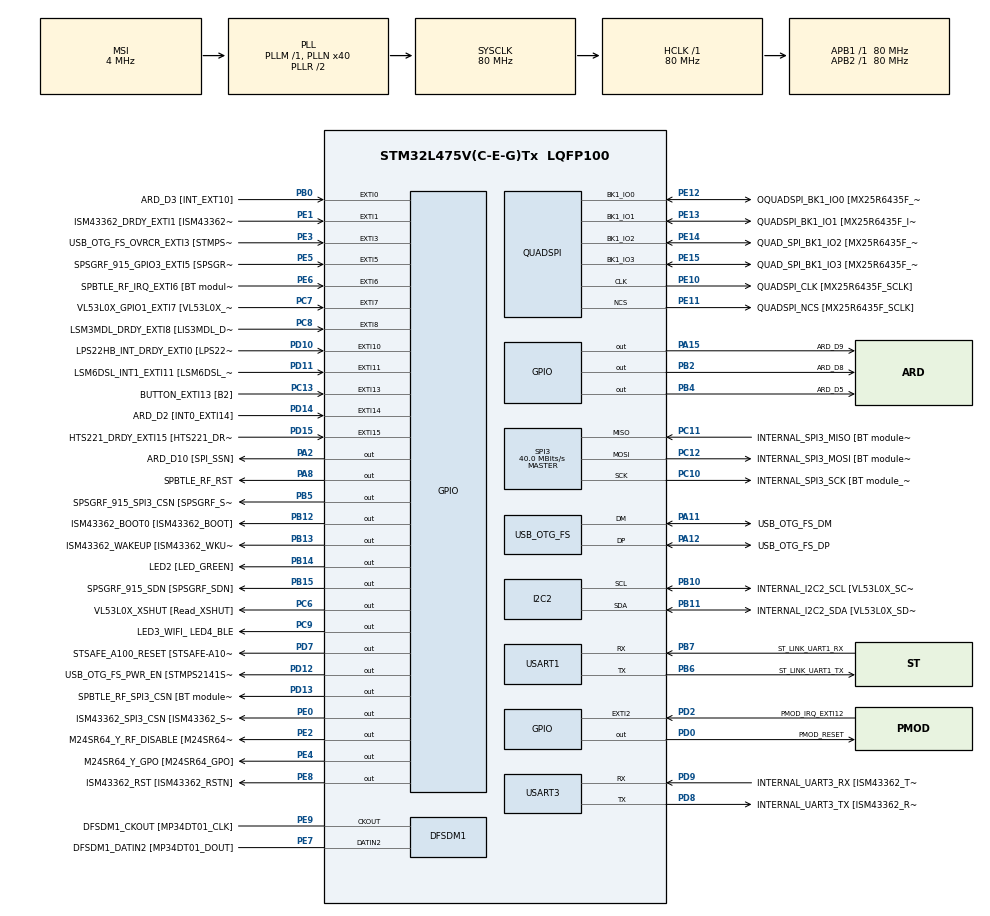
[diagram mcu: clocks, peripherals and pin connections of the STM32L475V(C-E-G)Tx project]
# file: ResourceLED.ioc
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FREERTOS.Mutexes01=LEDFlashMutex,Dynamic,NULL
FREERTOS.Queues01=ConsoleQueue,16,uint16_t,0,Dynamic,NULL,NULL
FREERTOS.Tasks01=defaultTask,0,128,StartDefaultTask,Default,NULL,Dynamic,NULL,NULL;myFaskBlinkLEDT,-3,128,StartFastBlinkTask,Default,NULL,Dynamic,NULL,NULL;mySlowBlinkTask,-3,128,StartSlowBlinkTask,Default,NULL,Dynamic,NULL,NULL
Mcu.Family=STM32L4
Mcu.Name=STM32L475V(C-E-G)Tx
Mcu.Package=LQFP100
NVIC.EXTI15_10_IRQn=true\:5\:0\:false\:false\:true\:true\:true\:true\:true
NVIC.EXTI9_5_IRQn=true\:5\:0\:false\:false\:true\:true\:true\:true\:true
NVIC.PriorityGroup=NVIC_PRIORITYGROUP_4
NVIC.TIM1_UP_TIM16_IRQn=true\:15\:0\:false\:false\:true\:false\:false\:true\:true
NVIC.TimeBase=TIM1_UP_TIM16_IRQn
NVIC.TimeBaseIP=TIM1
PA0.GPIO_Label=ARD_D1 [UART4_TX]
PA0.Signal=UART4_TX
PA1.GPIO_Label=ARD_D0 [UART4_RX]
PA1.Signal=UART4_RX
PA10.GPIO_Label=USB_OTG_FS_ID
PA10.Signal=USB_OTG_FS_ID
PA11.GPIO_Label=USB_OTG_FS_DM
PA11.Mode=Device_Only
PA11.Signal=USB_OTG_FS_DM
PA12.GPIO_Label=USB_OTG_FS_DP
PA12.Mode=Device_Only
PA12.Signal=USB_OTG_FS_DP
PA13\ (JTMS-SWDIO).GPIO_Label=SYS_JTMS_SWDIO
PA13\ (JTMS-SWDIO).Mode=Serial_Wire
PA13\ (JTMS-SWDIO).Signal=SYS_JTMS-SWDIO
PA14\ (JTCK-SWCLK).GPIO_Label=SYS_JTCK_SWCLK
PA14\ (JTCK-SWCLK).Mode=Serial_Wire
PA14\ (JTCK-SWCLK).Signal=SYS_JTCK-SWCLK
PA15\ (JTDI).GPIO_Label=ARD_D9
PA15\ (JTDI).Signal=GPIO_Output
PA2.GPIO_Label=ARD_D10 [SPI_SSN]
PA2.Signal=GPIO_Output
PA3.GPIO_Label=ARD_D4
PA3.Signal=S_TIM2_CH4
PA4.GPIO_Label=ARD_D7
PA4.Signal=ADCx_IN9
PA5.GPIO_Label=ARD_D13 [SPI1_SCK]
PA5.Signal=SPI1_SCK
PA6.GPIO_Label=ARD_D12 [SPI1_MISO]
PA6.Signal=SPI1_MISO
PA7.GPIO_Label=ARD_D11 [SPI1_MOSI]
PA7.Signal=SPI1_MOSI
PA8.GPIO_Label=SPBTLE_RF_RST
PA8.Signal=GPIO_Output
PA9.GPIO_Label=USB_OTG_FS_VBUS [STMPS2141STR_OUT]
PA9.Signal=USB_OTG_FS_VBUS
PB0.GPIO_Label=ARD_D3 [INT_EXT10]
PB0.Signal=GPXTI0
PB1.GPIO_Label=ARD_D6 [ADC1_IN6]
PB1.Signal=ADCx_IN16
PB10.GPIO_Label=INTERNAL_I2C2_SCL [VL53L0X_SCL]
PB10.GPIO_Pu=GPIO_PULLUP
PB10.Mode=I2C
PB10.Signal=I2C2_SCL
PB11.GPIO_Label=INTERNAL_I2C2_SDA [VL53L0X_SDA]
PB11.GPIO_Pu=GPIO_PULLUP
PB11.Mode=I2C
PB11.Signal=I2C2_SDA
PB12.GPIO_Label=ISM43362_BOOT0 [ISM43362_BOOT]
PB12.Signal=GPIO_Output
PB13.GPIO_Label=ISM43362_WAKEUP [ISM43362_WKUP]
PB13.Signal=GPIO_Output
PB14.GPIO_Label=LED2 [LED_GREEN]
PB14.Signal=GPIO_Output
PB15.GPIO_Label=SPSGRF_915_SDN [SPSGRF_SDN]
PB15.Signal=GPIO_Output
PB2.GPIO_Label=ARD_D8
PB2.Signal=GPIO_Output
PB3\ (JTDO-TRACESWO).GPIO_Label=SYS_JTD0_SWO
PB3\ (JTDO-TRACESWO).Signal=SYS_JTDO-SWO
PB4\ (NJTRST).GPIO_Label=ARD_D5
PB4\ (NJTRST).Signal=GPIO_Output
PB5.GPIO_Label=SPSGRF_915_SPI3_CSN [SPSGRF_SPI_CS]
PB5.PinState=GPIO_PIN_SET
PB5.Signal=GPIO_Output
PB6.GPIO_Label=ST_LINK_UART1_TX
PB6.Mode=Asynchronous
PB6.Signal=USART1_TX
PB7.GPIO_Label=ST_LINK_UART1_RX
PB7.Mode=Asynchronous
PB7.Signal=USART1_RX
PB8.GPIO_Label=ARD_D15 [I2C1_SCL]
PB8.Signal=I2C1_SCL
PB9.GPIO_Label=ARD_D14 [I2C1_SDA]
PB9.Signal=I2C1_SDA
PC0.GPIO_Label=ARD_A5 [ADC]
PC0.Signal=ADCx_IN1
PC1.GPIO_Label=ARD_A4 [ADC]
PC1.Signal=ADCx_IN2
PC10.GPIO_Label=INTERNAL_SPI3_SCK [BT module_SPI_SCLK] [ISM43362_SCK]
PC10.Mode=Full_Duplex_Master
PC10.Signal=SPI3_SCK
PC11.GPIO_Label=INTERNAL_SPI3_MISO [BT module_SPI_MISO] [ISM43362_MISO]
PC11.Mode=Full_Duplex_Master
PC11.Signal=SPI3_MISO
PC12.GPIO_Label=INTERNAL_SPI3_MOSI [BT module_SPI_MOSI] [ISM43362_MOSI]
PC12.Mode=Full_Duplex_Master
PC12.Signal=SPI3_MOSI
PC13.GPIO_Label=BUTTON_EXTI13 [B2]
PC13.GPIO_ModeDefaultEXTI=GPIO_MODE_IT_FALLING
PC13.Signal=GPXTI13
PC14-OSC32_IN\ (PC14).Mode=LSE-External-Oscillator
PC14-OSC32_IN\ (PC14).Signal=RCC_OSC32_IN
PC15-OSC32_OUT\ (PC15).Mode=LSE-External-Oscillator
PC15-OSC32_OUT\ (PC15).Signal=RCC_OSC32_OUT
PC2.GPIO_Label=ARD_A3 [ADC]
PC2.Signal=ADCx_IN3
PC3.GPIO_Label=ARD_A2 [ADC]
PC3.Signal=ADCx_IN4
PC4.GPIO_Label=ARD_A1 [ADC]
PC4.Signal=ADCx_IN13
PC5.GPIO_Label=ARD_A0 [ADC]
PC5.Signal=ADCx_IN14
PC6.GPIO_Label=VL53L0X_XSHUT [Read_XSHUT]
PC6.Signal=GPIO_Output
PC7.GPIO_Label=VL53L0X_GPIO1_EXTI7 [VL53L0X_GPIO1]
PC7.Signal=GPXTI7
PC8.GPIO_Label=LSM3MDL_DRDY_EXTI8 [LIS3MDL_DRDY]
PC8.Signal=GPXTI8
PC9.GPIO_Label=LED3_WIFI_ LED4_BLE
PC9.Signal=GPIO_Output
PD0.GPIO_Label=PMOD_RESET
PD0.Signal=GPIO_Output
PD1.GPIO_Label=PMOD_SPI2_SCK
PD1.Signal=SPI2_SCK
PD10.GPIO_Label=LPS22HB_INT_DRDY_EXTI0 [LPS22HB_INT_DRDY] 
PD10.Signal=GPXTI10
PD11.GPIO_Label=LSM6DSL_INT1_EXTI11 [LSM6DSL_INT1]
PD11.Signal=GPXTI11
PD12.GPIO_Label=USB_OTG_FS_PWR_EN [STMPS2141STR_EN]
PD12.Signal=GPIO_Output
PD13.GPIO_Label=SPBTLE_RF_SPI3_CSN [BT module_SPI_CS]
PD13.PinState=GPIO_PIN_SET
PD13.Signal=GPIO_Output
PD14.GPIO_Label=ARD_D2 [INT0_EXTI14]
PD14.Signal=GPXTI14
PD15.GPIO_Label=HTS221_DRDY_EXTI15 [HTS221_DRDY]
PD15.Signal=GPXTI15
PD2.GPIO_Label=PMOD_IRQ_EXTI12
PD2.Signal=GPXTI2
PD3.GPIO_Label=PMOD_UART2_CTS
PD3.Signal=USART2_CTS
PD4.GPIO_Label=PMOD_UART2_RTS
PD4.Signal=USART2_RTS
PD5.GPIO_Label=PMOD_UART2_TX
PD5.Signal=USART2_TX
PD6.GPIO_Label=PMOD_UART2_RX
PD6.Signal=USART2_RX
PD7.GPIO_Label=STSAFE_A100_RESET [STSAFE-A100_RESET]
PD7.Signal=GPIO_Output
PD8.GPIO_Label=INTERNAL_UART3_TX [ISM43362_RX]
PD8.Mode=Asynchronous
PD8.Signal=USART3_TX
PD9.GPIO_Label=INTERNAL_UART3_RX [ISM43362_TX]
PD9.Mode=Asynchronous
PD9.Signal=USART3_RX
PE0.GPIO_Label=ISM43362_SPI3_CSN [ISM43362_SSN]
PE0.PinState=GPIO_PIN_SET
PE0.Signal=GPIO_Output
PE1.GPIO_Label=ISM43362_DRDY_EXTI1 [ISM43362_DATARDY]
PE1.Signal=GPXTI1
PE10.GPIO_Label=QUADSPI_CLK [MX25R6435F_SCLK]
PE10.Mode=Single Bank
PE10.Signal=QUADSPI_CLK
PE11.GPIO_Label=QUADSPI_NCS [MX25R6435F_SCLK]
PE11.Mode=Single Bank
PE11.Signal=QUADSPI_NCS
PE12.GPIO_Label=OQUADSPI_BK1_IO0 [MX25R6435F_IO0]
PE12.Mode=Single Bank
PE12.Signal=QUADSPI_BK1_IO0
PE13.GPIO_Label=QUADSPI_BK1_IO1 [MX25R6435F_IO1]
PE13.Mode=Single Bank
PE13.Signal=QUADSPI_BK1_IO1
PE14.GPIO_Label=QUAD_SPI_BK1_IO2 [MX25R6435F_IO2]
PE14.Mode=Single Bank
PE14.Signal=QUADSPI_BK1_IO2
PE15.GPIO_Label=QUAD_SPI_BK1_IO3 [MX25R6435F_IO3]
PE15.Mode=Single Bank
PE15.Signal=QUADSPI_BK1_IO3
PE2.GPIO_Label=M24SR64_Y_RF_DISABLE [M24SR64_RFDIS]
PE2.Signal=GPIO_Output
PE3.GPIO_Label=USB_OTG_FS_OVRCR_EXTI3 [STMPS2141STR_FAULT]
PE3.Signal=GPXTI3
PE4.GPIO_Label=M24SR64_Y_GPO [M24SR64_GPO]
PE4.Signal=GPIO_Output
PE5.GPIO_Label=SPSGRF_915_GPIO3_EXTI5 [SPSGRF_GPIO_3]
PE5.Signal=GPXTI5
PE6.GPIO_Label=SPBTLE_RF_IRQ_EXTI6 [BT module_SPI_IRQ]
PE6.Signal=GPXTI6
PE7.GPIO_Label=DFSDM1_DATIN2 [MP34DT01_DOUT]
PE7.Signal=S_DATAIN2DFSDM1
PE8.GPIO_Label=ISM43362_RST [ISM43362_RSTN]
PE8.Signal=GPIO_Output
PE9.GPIO_Label=DFSDM1_CKOUT [MP34DT01_CLK]
PE9.Signal=S_CKOUTDFSDM1
ProjectManager.HeapSize=0x200
ProjectManager.StackSize=0x400
ProjectManager.TargetToolchain=STM32CubeIDE
QUADSPI.ClockPrescaler=2
QUADSPI.FifoThreshold=4
QUADSPI.FlashSize=23
QUADSPI.SampleShifting=QSPI_SAMPLE_SHIFTING_HALFCYCLE
RCC.ADCFreq_Value=48000000
RCC.AHBFreq_Value=80000000
RCC.APB1Freq_Value=80000000
RCC.APB1TimFreq_Value=80000000
RCC.APB2Freq_Value=80000000
RCC.APB2TimFreq_Value=80000000
RCC.CortexFreq_Value=80000000
RCC.HCLKFreq_Value=80000000
RCC.HSE_VALUE=8000000
RCC.HSI_VALUE=16000000
RCC.MSI_VALUE=4000000
RCC.PLLN=40
RCC.PLLSAI1N=24
RCC.SYSCLKFreq_VALUE=80000000
RCC.SYSCLKSource=RCC_SYSCLKSOURCE_PLLCLK
RCC.USBFreq_Value=48000000
RCC.VCOOutputFreq_Value=160000000
SH.ADCx_IN1.0=ADC1_IN1
SH.ADCx_IN13.0=ADC1_IN13
SH.ADCx_IN14.0=ADC1_IN14
SH.ADCx_IN16.0=ADC1_IN16
SH.ADCx_IN2.0=ADC1_IN2
SH.ADCx_IN3.0=ADC1_IN3
SH.ADCx_IN4.0=ADC1_IN4
SH.ADCx_IN9.0=ADC1_IN9
SH.S_CKOUTDFSDM1.0=DFSDM1_CKOUT,CKOUT
SH.S_CKOUTDFSDM1.1=DFSDM1_CKOUT,PDM_SPI_Input_from_ch12_and_Internal_Clock
SH.S_DATAIN2DFSDM1.0=DFSDM1_DATIN2,PDM_SPI_Input_from_ch12_and_Internal_Clock
SH.S_TIM2_CH4.0=TIM2_CH4
SPI3.CalculateBaudRate=40.0 MBits/s
SPI3.Direction=SPI_DIRECTION_2LINES
SPI3.Mode=SPI_MODE_MASTER
SPI3.VirtualType=VM_MASTER
USART1.VirtualMode-Asynchronous=VM_ASYNC
USART3.VirtualMode-Asynchronous=VM_ASYNC
USB_OTG_FS.VirtualMode=Device_Only
VP_FREERTOS_VS_CMSIS_V1.Mode=CMSIS_V1
VP_SYS_VS_tim1.Mode=TIM1
board=B-L475E-IOT01A2

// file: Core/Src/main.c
/* USER CODE BEGIN Header */
/**
  ******************************************************************************
  * @file           : main.c
  * @brief          : Main program body
  ******************************************************************************
  * @attention
  *
  * Copyright (c) 2023 STMicroelectronics.
  * All rights reserved.
  *
  * This software is licensed under terms that can be found in the LICENSE file
  * in the root directory of this software component.
  * If no LICENSE file comes with this software, it is provided AS-IS.
  *
  ******************************************************************************
  */
/* USER CODE END Header */
#include "main.h"
#include "cmsis_os.h"

/* USER CODE BEGIN Includes */
#include <stdio.h>
#include <string.h>
/* USER CODE END Includes */

/* USER CODE BEGIN PD */
#define CMD_NO_OP 			0
#define CMD_BUTTON_PRESS	1
#define CMD_FAST_LED_FLASH	2
#define CMD_SLOW_LED_FLASH	3
/* USER CODE END PD */

DFSDM_Channel_HandleTypeDef hdfsdm1_channel1;

I2C_HandleTypeDef hi2c2;

QSPI_HandleTypeDef hqspi;

SPI_HandleTypeDef hspi3;

UART_HandleTypeDef huart1;
UART_HandleTypeDef huart3;

PCD_HandleTypeDef hpcd_USB_OTG_FS;

osThreadId defaultTaskHandle;
osThreadId myFaskBlinkLEDTHandle;
osThreadId mySlowBlinkTaskHandle;
osMessageQId ConsoleQueueHandle;
osMutexId LEDFlashMutexHandle;

void SystemClock_Config(void);
static void MX_GPIO_Init(void);
static void MX_DFSDM1_Init(void);
static void MX_I2C2_Init(void);
static void MX_QUADSPI_Init(void);
static void MX_SPI3_Init(void);
static void MX_USART1_UART_Init(void);
static void MX_USART3_UART_Init(void);
static void MX_USB_OTG_FS_PCD_Init(void);
void StartDefaultTask(void const * argument);
void StartFastBlinkTask(void const * argument);
void StartSlowBlinkTask(void const * argument);

int main(void)
{

  /* MCU Configuration--------------------------------------------------------*/

  /* Reset of all peripherals, Initializes the Flash interface and the Systick. */
  HAL_Init();

  /* Configure the system clock */
  SystemClock_Config();

  /* Initialize all configured peripherals */
  MX_GPIO_Init();
  MX_DFSDM1_Init();
  MX_I2C2_Init();
  MX_QUADSPI_Init();
  MX_SPI3_Init();
  MX_USART1_UART_Init();
  MX_USART3_UART_Init();
  MX_USB_OTG_FS_PCD_Init();

  /* Create the mutex(es) */
  /* definition and creation of LEDFlashMutex */
  osMutexDef(LEDFlashMutex);
  LEDFlashMutexHandle = osMutexCreate(osMutex(LEDFlashMutex));

  /* Create the queue(s) */
  /* definition and creation of ConsoleQueue */
  osMessageQDef(ConsoleQueue, 16, uint16_t);
  ConsoleQueueHandle = osMessageCreate(osMessageQ(ConsoleQueue), NULL);

  /* Create the thread(s) */
  /* definition and creation of defaultTask */
  osThreadDef(defaultTask, StartDefaultTask, osPriorityNormal, 0, 128);
  defaultTaskHandle = osThreadCreate(osThread(defaultTask), NULL);

  /* definition and creation of myFaskBlinkLEDT */
  osThreadDef(myFaskBlinkLEDT, StartFastBlinkTask, osPriorityIdle, 0, 128);
  myFaskBlinkLEDTHandle = osThreadCreate(osThread(myFaskBlinkLEDT), NULL);

  /* definition and creation of mySlowBlinkTask */
  osThreadDef(mySlowBlinkTask, StartSlowBlinkTask, osPriorityIdle, 0, 128);
  mySlowBlinkTaskHandle = osThreadCreate(osThread(mySlowBlinkTask), NULL);

  /* Start scheduler */
  osKernelStart();
  /* We should never get here as control is now taken by the scheduler */
  /* Infinite loop */
  while (1)
  {

  }
}

void SystemClock_Config(void)
{
  RCC_OscInitTypeDef RCC_OscInitStruct = {0};
  RCC_ClkInitTypeDef RCC_ClkInitStruct = {0};

  /** Configure the main internal regulator output voltage
  */
  if (HAL_PWREx_ControlVoltageScaling(PWR_REGULATOR_VOLTAGE_SCALE1) != HAL_OK)
  {
    Error_Handler();
  }

  /** Configure LSE Drive Capability
  */
  HAL_PWR_EnableBkUpAccess();
  __HAL_RCC_LSEDRIVE_CONFIG(RCC_LSEDRIVE_LOW);

  /** Initializes the RCC Oscillators according to the specified parameters
  * in the RCC_OscInitTypeDef structure.
  */
  RCC_OscInitStruct.OscillatorType = RCC_OSCILLATORTYPE_LSE|RCC_OSCILLATORTYPE_MSI;
  RCC_OscInitStruct.LSEState = RCC_LSE_ON;
  RCC_OscInitStruct.MSIState = RCC_MSI_ON;
  RCC_OscInitStruct.MSICalibrationValue = 0;
  RCC_OscInitStruct.MSIClockRange = RCC_MSIRANGE_6;
  RCC_OscInitStruct.PLL.PLLState = RCC_PLL_ON;
  RCC_OscInitStruct.PLL.PLLSource = RCC_PLLSOURCE_MSI;
  RCC_OscInitStruct.PLL.PLLM = 1;
  RCC_OscInitStruct.PLL.PLLN = 40;
  RCC_OscInitStruct.PLL.PLLP = RCC_PLLP_DIV7;
  RCC_OscInitStruct.PLL.PLLQ = RCC_PLLQ_DIV2;
  RCC_OscInitStruct.PLL.PLLR = RCC_PLLR_DIV2;
  if (HAL_RCC_OscConfig(&RCC_OscInitStruct) != HAL_OK)
  {
    Error_Handler();
  }

  /** Initializes the CPU, AHB and APB buses clocks
  */
  RCC_ClkInitStruct.ClockType = RCC_CLOCKTYPE_HCLK|RCC_CLOCKTYPE_SYSCLK
                              |RCC_CLOCKTYPE_PCLK1|RCC_CLOCKTYPE_PCLK2;
  RCC_ClkInitStruct.SYSCLKSource = RCC_SYSCLKSOURCE_PLLCLK;
  RCC_ClkInitStruct.AHBCLKDivider = RCC_SYSCLK_DIV1;
  RCC_ClkInitStruct.APB1CLKDivider = RCC_HCLK_DIV1;
  RCC_ClkInitStruct.APB2CLKDivider = RCC_HCLK_DIV1;

  if (HAL_RCC_ClockConfig(&RCC_ClkInitStruct, FLASH_LATENCY_4) != HAL_OK)
  {
    Error_Handler();
  }

  /** Enable MSI Auto calibration
  */
  HAL_RCCEx_EnableMSIPLLMode();
}

static void MX_DFSDM1_Init(void)
{

  hdfsdm1_channel1.Instance = DFSDM1_Channel1;
  hdfsdm1_channel1.Init.OutputClock.Activation = ENABLE;
  hdfsdm1_channel1.Init.OutputClock.Selection = DFSDM_CHANNEL_OUTPUT_CLOCK_SYSTEM;
  hdfsdm1_channel1.Init.OutputClock.Divider = 2;
  hdfsdm1_channel1.Init.Input.Multiplexer = DFSDM_CHANNEL_EXTERNAL_INPUTS;
  hdfsdm1_channel1.Init.Input.DataPacking = DFSDM_CHANNEL_STANDARD_MODE;
  hdfsdm1_channel1.Init.Input.Pins = DFSDM_CHANNEL_FOLLOWING_CHANNEL_PINS;
  hdfsdm1_channel1.Init.SerialInterface.Type = DFSDM_CHANNEL_SPI_RISING;
  hdfsdm1_channel1.Init.SerialInterface.SpiClock = DFSDM_CHANNEL_SPI_CLOCK_INTERNAL;
  hdfsdm1_channel1.Init.Awd.FilterOrder = DFSDM_CHANNEL_FASTSINC_ORDER;
  hdfsdm1_channel1.Init.Awd.Oversampling = 1;
  hdfsdm1_channel1.Init.Offset = 0;
  hdfsdm1_channel1.Init.RightBitShift = 0x00;
  if (HAL_DFSDM_ChannelInit(&hdfsdm1_channel1) != HAL_OK)
  {
    Error_Handler();
  }

}

static void MX_I2C2_Init(void)
{

  hi2c2.Instance = I2C2;
  hi2c2.Init.Timing = 0x00000E14;
  hi2c2.Init.OwnAddress1 = 0;
  hi2c2.Init.AddressingMode = I2C_ADDRESSINGMODE_7BIT;
  hi2c2.Init.DualAddressMode = I2C_DUALADDRESS_DISABLE;
  hi2c2.Init.OwnAddress2 = 0;
  hi2c2.Init.OwnAddress2Masks = I2C_OA2_NOMASK;
  hi2c2.Init.GeneralCallMode = I2C_GENERALCALL_DISABLE;
  hi2c2.Init.NoStretchMode = I2C_NOSTRETCH_DISABLE;
  if (HAL_I2C_Init(&hi2c2) != HAL_OK)
  {
    Error_Handler();
  }

  /** Configure Analogue filter
  */
  if (HAL_I2CEx_ConfigAnalogFilter(&hi2c2, I2C_ANALOGFILTER_ENABLE) != HAL_OK)
  {
    Error_Handler();
  }

  /** Configure Digital filter
  */
  if (HAL_I2CEx_ConfigDigitalFilter(&hi2c2, 0) != HAL_OK)
  {
    Error_Handler();
  }

}

static void MX_QUADSPI_Init(void)
{

  /* QUADSPI parameter configuration*/
  hqspi.Instance = QUADSPI;
  hqspi.Init.ClockPrescaler = 2;
  hqspi.Init.FifoThreshold = 4;
  hqspi.Init.SampleShifting = QSPI_SAMPLE_SHIFTING_HALFCYCLE;
  hqspi.Init.FlashSize = 23;
  hqspi.Init.ChipSelectHighTime = QSPI_CS_HIGH_TIME_1_CYCLE;
  hqspi.Init.ClockMode = QSPI_CLOCK_MODE_0;
  if (HAL_QSPI_Init(&hqspi) != HAL_OK)
  {
    Error_Handler();
  }

}

static void MX_SPI3_Init(void)
{

  /* SPI3 parameter configuration*/
  hspi3.Instance = SPI3;
  hspi3.Init.Mode = SPI_MODE_MASTER;
  hspi3.Init.Direction = SPI_DIRECTION_2LINES;
  hspi3.Init.DataSize = SPI_DATASIZE_4BIT;
  hspi3.Init.CLKPolarity = SPI_POLARITY_LOW;
  hspi3.Init.CLKPhase = SPI_PHASE_1EDGE;
  hspi3.Init.NSS = SPI_NSS_SOFT;
  hspi3.Init.BaudRatePrescaler = SPI_BAUDRATEPRESCALER_2;
  hspi3.Init.FirstBit = SPI_FIRSTBIT_MSB;
  hspi3.Init.TIMode = SPI_TIMODE_DISABLE;
  hspi3.Init.CRCCalculation = SPI_CRCCALCULATION_DISABLE;
  hspi3.Init.CRCPolynomial = 7;
  hspi3.Init.CRCLength = SPI_CRC_LENGTH_DATASIZE;
  hspi3.Init.NSSPMode = SPI_NSS_PULSE_ENABLE;
  if (HAL_SPI_Init(&hspi3) != HAL_OK)
  {
    Error_Handler();
  }

}

static void MX_USART1_UART_Init(void)
{

  huart1.Instance = USART1;
  huart1.Init.BaudRate = 115200;
  huart1.Init.WordLength = UART_WORDLENGTH_8B;
  huart1.Init.StopBits = UART_STOPBITS_1;
  huart1.Init.Parity = UART_PARITY_NONE;
  huart1.Init.Mode = UART_MODE_TX_RX;
  huart1.Init.HwFlowCtl = UART_HWCONTROL_NONE;
  huart1.Init.OverSampling = UART_OVERSAMPLING_16;
  huart1.Init.OneBitSampling = UART_ONE_BIT_SAMPLE_DISABLE;
  huart1.AdvancedInit.AdvFeatureInit = UART_ADVFEATURE_NO_INIT;
  if (HAL_UART_Init(&huart1) != HAL_OK)
  {
    Error_Handler();
  }

}

static void MX_USART3_UART_Init(void)
{

  huart3.Instance = USART3;
  huart3.Init.BaudRate = 115200;
  huart3.Init.WordLength = UART_WORDLENGTH_8B;
  huart3.Init.StopBits = UART_STOPBITS_1;
  huart3.Init.Parity = UART_PARITY_NONE;
  huart3.Init.Mode = UART_MODE_TX_RX;
  huart3.Init.HwFlowCtl = UART_HWCONTROL_NONE;
  huart3.Init.OverSampling = UART_OVERSAMPLING_16;
  huart3.Init.OneBitSampling = UART_ONE_BIT_SAMPLE_DISABLE;
  huart3.AdvancedInit.AdvFeatureInit = UART_ADVFEATURE_NO_INIT;
  if (HAL_UART_Init(&huart3) != HAL_OK)
  {
    Error_Handler();
  }

}

static void MX_USB_OTG_FS_PCD_Init(void)
{

  hpcd_USB_OTG_FS.Instance = USB_OTG_FS;
  hpcd_USB_OTG_FS.Init.dev_endpoints = 6;
  hpcd_USB_OTG_FS.Init.speed = PCD_SPEED_FULL;
  hpcd_USB_OTG_FS.Init.phy_itface = PCD_PHY_EMBEDDED;
  hpcd_USB_OTG_FS.Init.Sof_enable = DISABLE;
  hpcd_USB_OTG_FS.Init.low_power_enable = DISABLE;
  hpcd_USB_OTG_FS.Init.lpm_enable = DISABLE;
  hpcd_USB_OTG_FS.Init.battery_charging_enable = DISABLE;
  hpcd_USB_OTG_FS.Init.use_dedicated_ep1 = DISABLE;
  hpcd_USB_OTG_FS.Init.vbus_sensing_enable = DISABLE;
  if (HAL_PCD_Init(&hpcd_USB_OTG_FS) != HAL_OK)
  {
    Error_Handler();
  }

}

static void MX_GPIO_Init(void)
{
  GPIO_InitTypeDef GPIO_InitStruct = {0};

  /* GPIO Ports Clock Enable */
  __HAL_RCC_GPIOE_CLK_ENABLE();
  __HAL_RCC_GPIOC_CLK_ENABLE();
  __HAL_RCC_GPIOA_CLK_ENABLE();
  __HAL_RCC_GPIOB_CLK_ENABLE();
  __HAL_RCC_GPIOD_CLK_ENABLE();

  /*Configure GPIO pin Output Level */
  HAL_GPIO_WritePin(GPIOE, M24SR64_Y_RF_DISABLE_Pin|M24SR64_Y_GPO_Pin|ISM43362_RST_Pin, GPIO_PIN_RESET);

  /*Configure GPIO pin Output Level */
  HAL_GPIO_WritePin(GPIOA, ARD_D10_Pin|SPBTLE_RF_RST_Pin|ARD_D9_Pin, GPIO_PIN_RESET);

  /*Configure GPIO pin Output Level */
  HAL_GPIO_WritePin(GPIOB, ARD_D8_Pin|ISM43362_BOOT0_Pin|ISM43362_WAKEUP_Pin|LED2_Pin
                          |SPSGRF_915_SDN_Pin|ARD_D5_Pin, GPIO_PIN_RESET);

  /*Configure GPIO pin Output Level */
  HAL_GPIO_WritePin(GPIOD, USB_OTG_FS_PWR_EN_Pin|PMOD_RESET_Pin|STSAFE_A100_RESET_Pin, GPIO_PIN_RESET);

  /*Configure GPIO pin Output Level */
  HAL_GPIO_WritePin(SPBTLE_RF_SPI3_CSN_GPIO_Port, SPBTLE_RF_SPI3_CSN_Pin, GPIO_PIN_SET);

  /*Configure GPIO pin Output Level */
  HAL_GPIO_WritePin(GPIOC, VL53L0X_XSHUT_Pin|LED3_WIFI__LED4_BLE_Pin, GPIO_PIN_RESET);

  /*Configure GPIO pin Output Level */
  HAL_GPIO_WritePin(SPSGRF_915_SPI3_CSN_GPIO_Port, SPSGRF_915_SPI3_CSN_Pin, GPIO_PIN_SET);

  /*Configure GPIO pin Output Level */
  HAL_GPIO_WritePin(ISM43362_SPI3_CSN_GPIO_Port, ISM43362_SPI3_CSN_Pin, GPIO_PIN_SET);

  /*Configure GPIO pins : M24SR64_Y_RF_DISABLE_Pin M24SR64_Y_GPO_Pin ISM43362_RST_Pin ISM43362_SPI3_CSN_Pin */
  GPIO_InitStruct.Pin = M24SR64_Y_RF_DISABLE_Pin|M24SR64_Y_GPO_Pin|ISM43362_RST_Pin|ISM43362_SPI3_CSN_Pin;
  GPIO_InitStruct.Mode = GPIO_MODE_OUTPUT_PP;
  GPIO_InitStruct.Pull = GPIO_NOPULL;
  GPIO_InitStruct.Speed = GPIO_SPEED_FREQ_LOW;
  HAL_GPIO_Init(GPIOE, &GPIO_InitStruct);

  /*Configure GPIO pins : USB_OTG_FS_OVRCR_EXTI3_Pin SPSGRF_915_GPIO3_EXTI5_Pin SPBTLE_RF_IRQ_EXTI6_Pin ISM43362_DRDY_EXTI1_Pin */
  GPIO_InitStruct.Pin = USB_OTG_FS_OVRCR_EXTI3_Pin|SPSGRF_915_GPIO3_EXTI5_Pin|SPBTLE_RF_IRQ_EXTI6_Pin|ISM43362_DRDY_EXTI1_Pin;
  GPIO_InitStruct.Mode = GPIO_MODE_IT_RISING;
  GPIO_InitStruct.Pull = GPIO_NOPULL;
  HAL_GPIO_Init(GPIOE, &GPIO_InitStruct);

  /*Configure GPIO pin : BUTTON_EXTI13_Pin */
  GPIO_InitStruct.Pin = BUTTON_EXTI13_Pin;
  GPIO_InitStruct.Mode = GPIO_MODE_IT_FALLING;
  GPIO_InitStruct.Pull = GPIO_NOPULL;
  HAL_GPIO_Init(BUTTON_EXTI13_GPIO_Port, &GPIO_InitStruct);

  /*Configure GPIO pins : ARD_A5_Pin ARD_A4_Pin ARD_A3_Pin ARD_A2_Pin
                           ARD_A1_Pin ARD_A0_Pin */
  GPIO_InitStruct.Pin = ARD_A5_Pin|ARD_A4_Pin|ARD_A3_Pin|ARD_A2_Pin
                          |ARD_A1_Pin|ARD_A0_Pin;
  GPIO_InitStruct.Mode = GPIO_MODE_ANALOG_ADC_CONTROL;
  GPIO_InitStruct.Pull = GPIO_NOPULL;
  HAL_GPIO_Init(GPIOC, &GPIO_InitStruct);

  /*Configure GPIO pins : ARD_D1_Pin ARD_D0_Pin */
  GPIO_InitStruct.Pin = ARD_D1_Pin|ARD_D0_Pin;
  GPIO_InitStruct.Mode = GPIO_MODE_AF_PP;
  GPIO_InitStruct.Pull = GPIO_NOPULL;
  GPIO_InitStruct.Speed = GPIO_SPEED_FREQ_VERY_HIGH;
  GPIO_InitStruct.Alternate = GPIO_AF8_UART4;
  HAL_GPIO_Init(GPIOA, &GPIO_InitStruct);

  /*Configure GPIO pins : ARD_D10_Pin SPBTLE_RF_RST_Pin ARD_D9_Pin */
  GPIO_InitStruct.Pin = ARD_D10_Pin|SPBTLE_RF_RST_Pin|ARD_D9_Pin;
  GPIO_InitStruct.Mode = GPIO_MODE_OUTPUT_PP;
  GPIO_InitStruct.Pull = GPIO_NOPULL;
  GPIO_InitStruct.Speed = GPIO_SPEED_FREQ_LOW;
  HAL_GPIO_Init(GPIOA, &GPIO_InitStruct);

  /*Configure GPIO pin : ARD_D4_Pin */
  GPIO_InitStruct.Pin = ARD_D4_Pin;
  GPIO_InitStruct.Mode = GPIO_MODE_AF_PP;
  GPIO_InitStruct.Pull = GPIO_NOPULL;
  GPIO_InitStruct.Speed = GPIO_SPEED_FREQ_LOW;
  GPIO_InitStruct.Alternate = GPIO_AF1_TIM2;
  HAL_GPIO_Init(ARD_D4_GPIO_Port, &GPIO_InitStruct);

  /*Configure GPIO pin : ARD_D7_Pin */
  GPIO_InitStruct.Pin = ARD_D7_Pin;
  GPIO_InitStruct.Mode = GPIO_MODE_ANALOG_ADC_CONTROL;
  GPIO_InitStruct.Pull = GPIO_NOPULL;
  HAL_GPIO_Init(ARD_D7_GPIO_Port, &GPIO_InitStruct);

  /*Configure GPIO pins : ARD_D13_Pin ARD_D12_Pin ARD_D11_Pin */
  GPIO_InitStruct.Pin = ARD_D13_Pin|ARD_D12_Pin|ARD_D11_Pin;
  GPIO_InitStruct.Mode = GPIO_MODE_AF_PP;
  GPIO_InitStruct.Pull = GPIO_NOPULL;
  GPIO_InitStruct.Speed = GPIO_SPEED_FREQ_VERY_HIGH;
  GPIO_InitStruct.Alternate = GPIO_AF5_SPI1;
  HAL_GPIO_Init(GPIOA, &GPIO_InitStruct);

  /*Configure GPIO pin : ARD_D3_Pin */
  GPIO_InitStruct.Pin = ARD_D3_Pin;
  GPIO_InitStruct.Mode = GPIO_MODE_IT_RISING;
  GPIO_InitStruct.Pull = GPIO_NOPULL;
  HAL_GPIO_Init(ARD_D3_GPIO_Port, &GPIO_InitStruct);

  /*Configure GPIO pin : ARD_D6_Pin */
  GPIO_InitStruct.Pin = ARD_D6_Pin;
  GPIO_InitStruct.Mode = GPIO_MODE_ANALOG_ADC_CONTROL;
  GPIO_InitStruct.Pull = GPIO_NOPULL;
  HAL_GPIO_Init(ARD_D6_GPIO_Port, &GPIO_InitStruct);

  /*Configure GPIO pins : ARD_D8_Pin ISM43362_BOOT0_Pin ISM43362_WAKEUP_Pin LED2_Pin
                           SPSGRF_915_SDN_Pin ARD_D5_Pin SPSGRF_915_SPI3_CSN_Pin */
  GPIO_InitStruct.Pin = ARD_D8_Pin|ISM43362_BOOT0_Pin|ISM43362_WAKEUP_Pin|LED2_Pin
                          |SPSGRF_915_SDN_Pin|ARD_D5_Pin|SPSGRF_915_SPI3_CSN_Pin;
  GPIO_InitStruct.Mode = GPIO_MODE_OUTPUT_PP;
  GPIO_InitStruct.Pull = GPIO_NOPULL;
  GPIO_InitStruct.Speed = GPIO_SPEED_FREQ_LOW;
  HAL_GPIO_Init(GPIOB, &GPIO_InitStruct);

  /*Configure GPIO pins : LPS22HB_INT_DRDY_EXTI0_Pin LSM6DSL_INT1_EXTI11_Pin ARD_D2_Pin HTS221_DRDY_EXTI15_Pin
                           PMOD_IRQ_EXTI12_Pin */
  GPIO_InitStruct.Pin = LPS22HB_INT_DRDY_EXTI0_Pin|LSM6DSL_INT1_EXTI11_Pin|ARD_D2_Pin|HTS221_DRDY_EXTI15_Pin
                          |PMOD_IRQ_EXTI12_Pin;
  GPIO_InitStruct.Mode = GPIO_MODE_IT_RISING;
  GPIO_InitStruct.Pull = GPIO_NOPULL;
  HAL_GPIO_Init(GPIOD, &GPIO_InitStruct);

  /*Configure GPIO pins : USB_OTG_FS_PWR_EN_Pin SPBTLE_RF_SPI3_CSN_Pin PMOD_RESET_Pin STSAFE_A100_RESET_Pin */
  GPIO_InitStruct.Pin = USB_OTG_FS_PWR_EN_Pin|SPBTLE_RF_SPI3_CSN_Pin|PMOD_RESET_Pin|STSAFE_A100_RESET_Pin;
  GPIO_InitStruct.Mode = GPIO_MODE_OUTPUT_PP;
  GPIO_InitStruct.Pull = GPIO_NOPULL;
  GPIO_InitStruct.Speed = GPIO_SPEED_FREQ_LOW;
  HAL_GPIO_Init(GPIOD, &GPIO_InitStruct);

  /*Configure GPIO pins : VL53L0X_XSHUT_Pin LED3_WIFI__LED4_BLE_Pin */
  GPIO_InitStruct.Pin = VL53L0X_XSHUT_Pin|LED3_WIFI__LED4_BLE_Pin;
  GPIO_InitStruct.Mode = GPIO_MODE_OUTPUT_PP;
  GPIO_InitStruct.Pull = GPIO_NOPULL;
  GPIO_InitStruct.Speed = GPIO_SPEED_FREQ_LOW;
  HAL_GPIO_Init(GPIOC, &GPIO_InitStruct);

  /*Configure GPIO pins : VL53L0X_GPIO1_EXTI7_Pin LSM3MDL_DRDY_EXTI8_Pin */
  GPIO_InitStruct.Pin = VL53L0X_GPIO1_EXTI7_Pin|LSM3MDL_DRDY_EXTI8_Pin;
  GPIO_InitStruct.Mode = GPIO_MODE_IT_RISING;
  GPIO_InitStruct.Pull = GPIO_NOPULL;
  HAL_GPIO_Init(GPIOC, &GPIO_InitStruct);

  /*Configure GPIO pin : PMOD_SPI2_SCK_Pin */
  GPIO_InitStruct.Pin = PMOD_SPI2_SCK_Pin;
  GPIO_InitStruct.Mode = GPIO_MODE_AF_PP;
  GPIO_InitStruct.Pull = GPIO_NOPULL;
  GPIO_InitStruct.Speed = GPIO_SPEED_FREQ_VERY_HIGH;
  GPIO_InitStruct.Alternate = GPIO_AF5_SPI2;
  HAL_GPIO_Init(PMOD_SPI2_SCK_GPIO_Port, &GPIO_InitStruct);

  /*Configure GPIO pins : PMOD_UART2_CTS_Pin PMOD_UART2_RTS_Pin PMOD_UART2_TX_Pin PMOD_UART2_RX_Pin */
  GPIO_InitStruct.Pin = PMOD_UART2_CTS_Pin|PMOD_UART2_RTS_Pin|PMOD_UART2_TX_Pin|PMOD_UART2_RX_Pin;
  GPIO_InitStruct.Mode = GPIO_MODE_AF_PP;
  GPIO_InitStruct.Pull = GPIO_NOPULL;
  GPIO_InitStruct.Speed = GPIO_SPEED_FREQ_VERY_HIGH;
  GPIO_InitStruct.Alternate = GPIO_AF7_USART2;
  HAL_GPIO_Init(GPIOD, &GPIO_InitStruct);

  /*Configure GPIO pins : ARD_D15_Pin ARD_D14_Pin */
  GPIO_InitStruct.Pin = ARD_D15_Pin|ARD_D14_Pin;
  GPIO_InitStruct.Mode = GPIO_MODE_AF_OD;
  GPIO_InitStruct.Pull = GPIO_NOPULL;
  GPIO_InitStruct.Speed = GPIO_SPEED_FREQ_VERY_HIGH;
  GPIO_InitStruct.Alternate = GPIO_AF4_I2C1;
  HAL_GPIO_Init(GPIOB, &GPIO_InitStruct);

  /* EXTI interrupt init*/
  HAL_NVIC_SetPriority(EXTI9_5_IRQn, 5, 0);
  HAL_NVIC_EnableIRQ(EXTI9_5_IRQn);

  HAL_NVIC_SetPriority(EXTI15_10_IRQn, 5, 0);
  HAL_NVIC_EnableIRQ(EXTI15_10_IRQn);

}

/* USER CODE BEGIN 4 */
void HAL_GPIO_EXTI_Callback(uint16_t GPIO_Pin)
{
	osMessagePut(ConsoleQueueHandle, CMD_BUTTON_PRESS, osWaitForever);
}
/* USER CODE END 4 */

void StartDefaultTask(void const * argument)
{
  /* USER CODE BEGIN 5 */
	char buf[100];
  /* Infinite loop */
  for(;;)
  {
	// Wait to receive command
	osEvent	event = osMessageGet(ConsoleQueueHandle, osWaitForever);
	// Format message for console
	snprintf(buf, sizeof(buf), "event.value.v: %lu\r\n", event.value.v);
	HAL_UART_Transmit(&huart1, (uint8_t*)buf, strlen(buf), 1000);
  }
  /* USER CODE END 5 */
}

void StartFastBlinkTask(void const * argument)
{
  /* USER CODE BEGIN StartFastBlinkTask */
  /* Infinite loop */
  for(;;)
  {
    osDelay(1000);
    // Grab mutex
    osMutexWait(LEDFlashMutexHandle, osWaitForever);
    osMessagePut(ConsoleQueueHandle, CMD_FAST_LED_FLASH, osWaitForever);
    HAL_GPIO_WritePin(LED2_GPIO_Port, LED2_Pin, SET);
    osDelay(250);
    HAL_GPIO_WritePin(LED2_GPIO_Port, LED2_Pin, RESET);
    osMutexRelease(LEDFlashMutexHandle);
  }
  /* USER CODE END StartFastBlinkTask */
}

void StartSlowBlinkTask(void const * argument)
{
  /* USER CODE BEGIN StartSlowBlinkTask */
  /* Infinite loop */
  for(;;)
  {
	osDelay(1000);
	// Grab mutex
	osMutexWait(LEDFlashMutexHandle, osWaitForever);
	osMessagePut(ConsoleQueueHandle, CMD_SLOW_LED_FLASH, osWaitForever);
	HAL_GPIO_WritePin(LED2_GPIO_Port, LED2_Pin, SET);
	osDelay(1000);
	HAL_GPIO_WritePin(LED2_GPIO_Port, LED2_Pin, RESET);
	osMutexRelease(LEDFlashMutexHandle);
  }
  /* USER CODE END StartSlowBlinkTask */
}

void HAL_TIM_PeriodElapsedCallback(TIM_HandleTypeDef *htim)
{
  if (htim->Instance == TIM1) {
    HAL_IncTick();
  }
}

void Error_Handler(void)
{
  __disable_irq();
  while (1)
  {
  }
}
